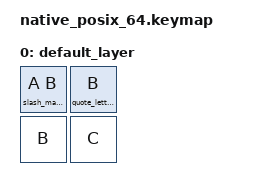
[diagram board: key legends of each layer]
/*
 * Copyright (c) 2022 The ZMK Contributors
 *
 * SPDX-License-Identifier: MIT
 */

#include <dt-bindings/zmk/keys.h>
#include <behaviors.dtsi>
#include <dt-bindings/zmk/macro.h>
#include <dt-bindings/zmk/kscan_mock.h>

/ {
	macros {
		slash_macro: slash_macro {
			#binding-cells = <2>;
			label = "ZM_SLASH";
			compatible = "zmk,behavior-macro-two-param";
			wait-ms = <40>;
			tap-ms = <40>;
			bindings = <&kp MACRO_PARAM1 &kp SLASH &kp MACRO_PARAM2>;
		};

		quote_letter_macro: quote_letter_macro {
			#binding-cells = <1>;
			label = "ZMK_QLET";
			compatible = "zmk,behavior-macro-one-param";
			wait-ms = <40>;
			tap-ms = <40>;
			bindings = <&kp QUOT &kp MACRO_PARAM1 &kp QUOT>;
		};
	};

	behaviors {

	};

	keymap {
		compatible = "zmk,keymap";
		label = "Default keymap";

		default_layer {
			bindings = <
			&slash_macro A B &quote_letter_macro B
			&kp B &kp C>;
		};
	};
};

&kscan {
	events = <ZMK_MOCK_PRESS(0,0,20) ZMK_MOCK_PRESS(0,1,10) ZMK_MOCK_RELEASE(0,1,10) ZMK_MOCK_RELEASE(0,0,1000)>;
};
